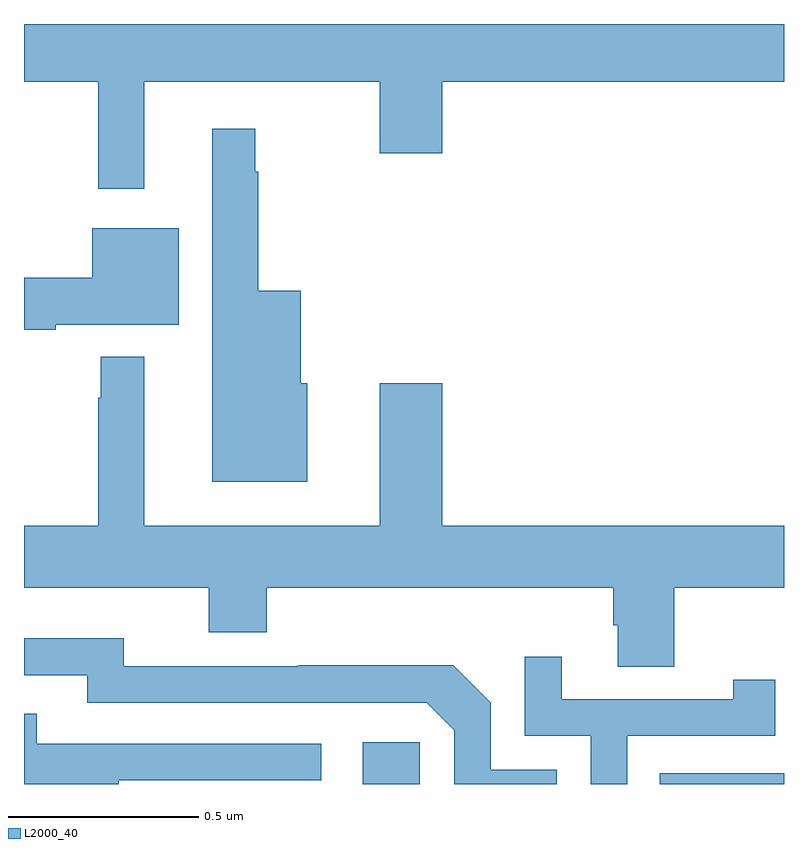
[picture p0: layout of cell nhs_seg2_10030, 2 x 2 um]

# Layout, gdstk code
import gdstk
lib = gdstk.Library(unit=1e-6, precision=1e-09)
def R(c, l, rs):  # rectangles x0, y0, x1, y1
    for r in rs: c.add(gdstk.rectangle(r[:2], r[2:], *l))
def P(c, l, *ps):  # polygons
    for p in ps: c.add(gdstk.Polygon(p, *l))
L2000_40 = (2000, 40)

nhs_seg2_10030 = lib.new_cell('nhs_seg2_10030')
R(nhs_seg2_10030, L2000_40, [(236.892,633.8,237.042,633.91), (237.673,633.8,238,633.828)])
P(nhs_seg2_10030, L2000_40, [(236.317,635.648),(236.936,635.648),(236.936,635.46),(237.1,635.46),(237.1,635.648),(238,635.648),(238,635.8),(236,635.8),(236,635.648),(236.196,635.648),(236.196,635.367),(236.317,635.367)],
  [(236.746,634.854),(236.728,634.854),(236.728,635.098),(236.617,635.098),(236.617,635.411),(236.609,635.411),(236.609,635.524),(236.495,635.524),(236.495,634.595),(236.746,634.595)],
  [(236.084,635.009),(236.407,635.009),(236.407,635.263),(236.18,635.263),(236.18,635.132),(236,635.132),(236,634.996),(236.084,634.996)],
  [(237.711,634.316),(238,634.316),(238,634.48),(237.1,634.48),(237.1,634.855),(236.936,634.855),(236.936,634.48),(236.317,634.48),(236.317,634.924),(236.202,634.924),(236.202,634.817),(236.196,634.817),(236.196,634.48),(236,634.48),(236,634.316),(236.486,634.316),(236.486,634.199),(236.639,634.199),(236.639,634.316),(237.551,634.316),(237.551,634.218),(237.563,634.218),(237.563,634.108),(237.711,634.108)],
  [(237.402,633.837),(237.228,633.837),(237.228,634.014),(237.13,634.112),(236.722,634.112),(236.722,634.11),(236.262,634.11),(236.262,634.183),(236,634.183),(236,634.086),(236.166,634.086),(236.166,634.014),(237.06,634.014),(237.132,633.942),(237.132,633.8),(237.402,633.8)],
  [(237.588,633.927),(237.977,633.927),(237.977,634.075),(237.866,634.075),(237.866,634.023),(237.415,634.023),(237.415,634.135),(237.318,634.135),(237.318,633.927),(237.492,633.927),(237.492,633.8),(237.588,633.8)],
  [(236.249,633.81),(236.782,633.81),(236.782,633.906),(236.033,633.906),(236.033,633.985),(236,633.985),(236,633.8),(236.249,633.8)])

lib.write_gds('nhs_seg2_10030.gds')
